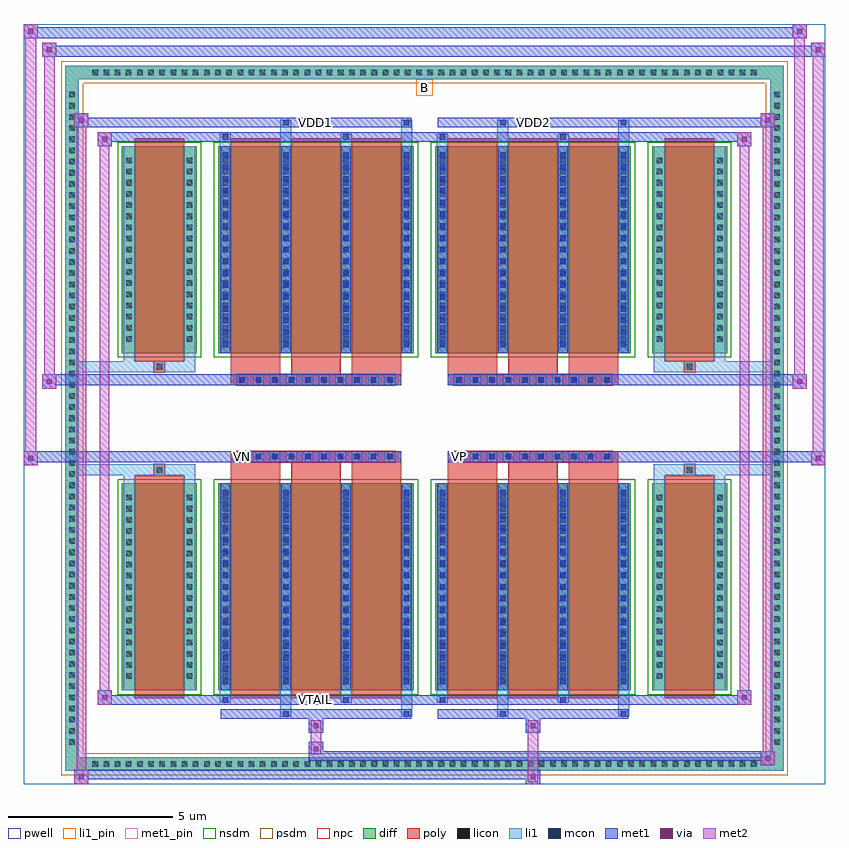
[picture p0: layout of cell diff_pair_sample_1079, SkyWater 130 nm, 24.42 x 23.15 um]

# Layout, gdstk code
import gdstk
lib = gdstk.Library(unit=1e-6, precision=5e-09)
def R(c, l, rs):  # rectangles x0, y0, x1, y1
    for r in rs: c.add(gdstk.rectangle(r[:2], r[2:], *l))
def A(c, l, x, y, w, h, nx, ny, dx, dy):  # array of equal rectangles
    R(c, l, [(x+i*dx, y+j*dy, x+i*dx+w, y+j*dy+h) for i in range(nx) for j in range(ny)])
def P(c, l, *ps):  # polygons
    for p in ps: c.add(gdstk.Polygon(p, *l))
pwell = (64, 44)
diff = (65, 20)
poly = (66, 20)
licon = (66, 44)
li1_pin = (67, 16)
li1 = (67, 20)
mcon = (67, 44)
met1_pin = (68, 16)
met1 = (68, 20)
via = (68, 44)
met2 = (69, 20)
nsdm = (93, 44)
psdm = (94, 20)
npc = (95, 20)

diff_pair_sample_1079 = lib.new_cell('diff_pair_sample_1079')
R(diff_pair_sample_1079, pwell, [(-12.21,-11.14,12.21,12.01), (-9.53,-9.33,-0.01,-0.805), (0.01,-9.33,9.53,-0.805), (-9.53,0.805,-0.01,9.33), (0.01,0.805,9.53,9.33)])
A(diff_pair_sample_1079, diff, -10.235, -10.74, 0.41, 0.41, 60, 2, 0.34, 21.07)
A(diff_pair_sample_1079, diff, -10.94, -10.065, 0.41, 0.41, 1, 59, 0, 0.34)
A(diff_pair_sample_1079, diff, 10.53, -10.065, 0.41, 0.41, 1, 59, 0, 0.34)
R(diff_pair_sample_1079, diff, [(-10.235,-10.74,10.235,-10.33), (-10.94,-10.065,-10.53,10.065), (10.53,-10.065,10.94,10.065), (-9.22,-8.285,-6.93,-1.985), (-6.29,-8.285,-0.32,-1.985), (0.32,-8.285,6.29,-1.985), (6.93,-8.285,9.22,-1.985), (-9.22,1.985,-6.93,8.285), (-6.29,1.985,-0.32,8.285), (0.32,1.985,6.29,8.285), (6.93,1.985,9.22,8.285), (-10.235,10.33,10.235,10.74)])
P(diff_pair_sample_1079, diff, [(10.94,10.74),(-10.94,10.74),(-10.94,-10.33),(-10.53,-10.33),(-10.53,10.33),(10.53,10.33),(10.53,-10.33),(-10.53,-10.33),(-10.94,-10.33),(-10.94,-10.74),(10.94,-10.74)])
A(diff_pair_sample_1079, poly, -5.9, -8.535, 1.51, 6.8, 3, 2, 1.84, 10.27)
A(diff_pair_sample_1079, poly, 0.71, -8.535, 1.51, 6.8, 3, 2, 1.84, 10.27)
A(diff_pair_sample_1079, poly, -5.9, -1.735, 1.51, 0.4, 3, 2, 1.84, 3.07)
A(diff_pair_sample_1079, poly, 0.71, -1.735, 1.51, 0.4, 3, 2, 1.84, 3.07)
A(diff_pair_sample_1079, poly, -5.72, -1.335, 0.33, 0.33, 10, 2, 0.5, 2.34)
A(diff_pair_sample_1079, poly, 0.89, -1.335, 0.33, 0.33, 10, 2, 0.5, 2.34)
R(diff_pair_sample_1079, poly, [(-8.83,-8.535,-7.32,-1.735), (7.32,-8.535,8.83,-1.735), (-8.24,-1.735,-7.91,-1.405), (-8.24,-1.735,-7.91,-1.405), (7.91,-1.735,8.24,-1.405), (7.91,-1.735,8.24,-1.405), (-5.9,-1.335,-0.71,-1.005), (0.71,-1.335,5.9,-1.005), (-5.9,1.005,-0.71,1.335), (0.71,1.005,5.9,1.335), (-8.24,1.405,-7.91,1.735), (-8.24,1.405,-7.91,1.735), (7.91,1.405,8.24,1.735), (7.91,1.405,8.24,1.735), (-8.83,1.735,-7.32,8.535), (7.32,1.735,8.83,8.535)])
A(diff_pair_sample_1079, licon, -10.115, -10.62, 0.17, 0.17, 60, 2, 0.34, 21.07)
A(diff_pair_sample_1079, licon, -10.82, -9.945, 0.17, 0.17, 1, 59, 0, 0.34)
A(diff_pair_sample_1079, licon, 10.65, -9.945, 0.17, 0.17, 1, 59, 0, 0.34)
A(diff_pair_sample_1079, licon, -9.08, -7.94, 0.17, 0.17, 1, 17, 0, 0.34)
A(diff_pair_sample_1079, licon, -7.24, -7.94, 0.17, 0.17, 1, 17, 0, 0.34)
A(diff_pair_sample_1079, licon, -6.15, -7.94, 0.17, 0.17, 4, 17, 1.84, 0.34)
A(diff_pair_sample_1079, licon, 0.46, -7.94, 0.17, 0.17, 4, 17, 1.84, 0.34)
A(diff_pair_sample_1079, licon, 7.07, -7.94, 0.17, 0.17, 1, 17, 0, 0.34)
A(diff_pair_sample_1079, licon, 8.91, -7.94, 0.17, 0.17, 1, 17, 0, 0.34)
A(diff_pair_sample_1079, licon, -5.64, -1.255, 0.17, 0.17, 10, 2, 0.5, 2.34)
A(diff_pair_sample_1079, licon, 0.97, -1.255, 0.17, 0.17, 10, 2, 0.5, 2.34)
A(diff_pair_sample_1079, licon, -9.08, 2.33, 0.17, 0.17, 1, 17, 0, 0.34)
A(diff_pair_sample_1079, licon, -7.24, 2.33, 0.17, 0.17, 1, 17, 0, 0.34)
A(diff_pair_sample_1079, licon, -6.15, 2.33, 0.17, 0.17, 4, 17, 1.84, 0.34)
A(diff_pair_sample_1079, licon, 0.46, 2.33, 0.17, 0.17, 4, 17, 1.84, 0.34)
A(diff_pair_sample_1079, licon, 7.07, 2.33, 0.17, 0.17, 1, 17, 0, 0.34)
A(diff_pair_sample_1079, licon, 8.91, 2.33, 0.17, 0.17, 1, 17, 0, 0.34)
R(diff_pair_sample_1079, licon, [(-8.16,-1.655,-7.99,-1.485), (7.99,-1.655,8.16,-1.485), (-8.16,1.485,-7.99,1.655), (7.99,1.485,8.16,1.655)])
R(diff_pair_sample_1079, li1_pin, [(-0.25,9.83,0.25,10.33)])
A(diff_pair_sample_1079, li1, -10.195, -10.7, 0.33, 0.33, 60, 2, 0.34, 21.07)
A(diff_pair_sample_1079, li1, -10.9, -10.025, 0.33, 0.33, 1, 59, 0, 0.34)
A(diff_pair_sample_1079, li1, 10.57, -10.025, 0.33, 0.33, 1, 59, 0, 0.34)
A(diff_pair_sample_1079, li1, -6.23, -8.285, 0.33, 6.3, 4, 2, 1.84, 10.27)
A(diff_pair_sample_1079, li1, 0.38, -8.285, 0.33, 6.3, 4, 2, 1.84, 10.27)
A(diff_pair_sample_1079, li1, -6.15, -8.1, 0.17, 0.17, 4, 17, 1.84, 0.36)
A(diff_pair_sample_1079, li1, -6.15, -8.1, 0.17, 5.93, 4, 2, 1.84, 10.27)
A(diff_pair_sample_1079, li1, 0.46, -8.1, 0.17, 0.17, 4, 17, 1.84, 0.36)
A(diff_pair_sample_1079, li1, 0.46, -8.1, 0.17, 5.93, 4, 2, 1.84, 10.27)
A(diff_pair_sample_1079, li1, -9.16, -8.02, 0.33, 0.33, 1, 17, 0, 0.34)
A(diff_pair_sample_1079, li1, -7.32, -8.02, 0.33, 0.33, 1, 17, 0, 0.34)
A(diff_pair_sample_1079, li1, -6.23, -8.02, 0.33, 0.33, 4, 17, 1.84, 0.34)
A(diff_pair_sample_1079, li1, 0.38, -8.02, 0.33, 0.33, 4, 17, 1.84, 0.34)
A(diff_pair_sample_1079, li1, 6.99, -8.02, 0.33, 0.33, 1, 17, 0, 0.34)
A(diff_pair_sample_1079, li1, 8.83, -8.02, 0.33, 0.33, 1, 17, 0, 0.34)
A(diff_pair_sample_1079, li1, -5.72, -1.335, 0.33, 0.33, 10, 2, 0.5, 2.34)
A(diff_pair_sample_1079, li1, 0.89, -1.335, 0.33, 0.33, 10, 2, 0.5, 2.34)
A(diff_pair_sample_1079, li1, -6.15, 2.17, 0.17, 0.17, 4, 17, 1.84, 0.36)
A(diff_pair_sample_1079, li1, 0.46, 2.17, 0.17, 0.17, 4, 17, 1.84, 0.36)
A(diff_pair_sample_1079, li1, -9.16, 2.25, 0.33, 0.33, 1, 17, 0, 0.34)
A(diff_pair_sample_1079, li1, -7.32, 2.25, 0.33, 0.33, 1, 17, 0, 0.34)
A(diff_pair_sample_1079, li1, -6.23, 2.25, 0.33, 0.33, 4, 17, 1.84, 0.34)
A(diff_pair_sample_1079, li1, 0.38, 2.25, 0.33, 0.33, 4, 17, 1.84, 0.34)
A(diff_pair_sample_1079, li1, 6.99, 2.25, 0.33, 0.33, 1, 17, 0, 0.34)
A(diff_pair_sample_1079, li1, 8.83, 2.25, 0.33, 0.33, 1, 17, 0, 0.34)
R(diff_pair_sample_1079, li1, [(-10.94,-10.74,-10.53,-10.33), (-10.94,-10.74,-10.53,-10.33), (-10.53,-10.74,10.53,-10.33), (10.53,-10.74,10.94,-10.33), (10.53,-10.74,10.94,-10.33), (-10.94,-10.33,-10.53,10.33), (10.53,-10.33,10.94,10.33), (-4.39,-9.09,-4.06,-8.285), (-4.31,-9.09,-4.14,-8.92), (-0.71,-9.09,-0.38,-8.285), (-0.63,-9.09,-0.46,-8.92), (2.22,-9.09,2.55,-8.285), (2.3,-9.09,2.47,-8.92), (5.9,-9.09,6.23,-8.285), (5.98,-9.09,6.15,-8.92), (-6.23,-8.66,-5.9,-8.285), (-6.15,-8.66,-5.98,-8.49), (-2.55,-8.66,-2.22,-8.285), (-2.47,-8.66,-2.3,-8.49), (0.38,-8.66,0.71,-8.285), (0.46,-8.66,0.63,-8.49), (4.06,-8.66,4.39,-8.285), (4.14,-8.66,4.31,-8.49), (-9.16,-8.285,-8.83,-1.985), (-7.32,-8.285,-6.99,-1.985), (6.99,-8.285,7.32,-1.985), (8.83,-8.285,9.16,-1.985), (-9.16,-1.985,-8.83,-1.405), (-7.32,-1.985,-6.99,-1.405), (6.99,-1.985,7.32,-1.405), (8.83,-1.985,9.16,-1.405), (-10.94,-1.735,-8.24,-1.405), (-9.16,-1.735,-8.24,-1.405), (-8.24,-1.735,-7.91,-1.405), (-7.91,-1.735,-6.99,-1.405), (6.99,-1.735,7.91,-1.405), (7.91,-1.735,8.24,-1.405), (7.91,-1.735,10.94,-1.405), (8.24,-1.735,9.16,-1.405), (-10.94,1.405,-8.24,1.735), (-9.16,1.405,-8.24,1.735), (-9.16,1.405,-8.83,1.985), (-8.24,1.405,-7.91,1.735), (-7.91,1.405,-6.99,1.735), (-7.32,1.405,-6.99,1.985), (6.99,1.405,7.91,1.735), (6.99,1.405,7.32,1.985), (7.91,1.405,8.24,1.735), (7.91,1.405,10.94,1.735), (8.24,1.405,9.16,1.735), (8.83,1.405,9.16,1.985), (-9.16,1.985,-8.83,8.285), (-7.32,1.985,-6.99,8.285), (6.99,1.985,7.32,8.285), (8.83,1.985,9.16,8.285), (-6.23,8.285,-5.9,8.66), (-4.39,8.285,-4.06,9.09), (-2.55,8.285,-2.22,8.66), (-0.71,8.285,-0.38,9.09), (0.38,8.285,0.71,8.66), (2.22,8.285,2.55,9.09), (4.06,8.285,4.39,8.66), (5.9,8.285,6.23,9.09), (-6.15,8.49,-5.98,8.66), (-2.47,8.49,-2.3,8.66), (0.46,8.49,0.63,8.66), (4.14,8.49,4.31,8.66), (-4.31,8.92,-4.14,9.09), (-0.63,8.92,-0.46,9.09), (2.3,8.92,2.47,9.09), (5.98,8.92,6.15,9.09), (-10.94,10.33,-10.53,10.74), (-10.94,10.33,-10.53,10.74), (-10.53,10.33,10.53,10.74), (10.53,10.33,10.94,10.74), (10.53,10.33,10.94,10.74)])
A(diff_pair_sample_1079, mcon, -6.15, -8.1, 0.17, 0.17, 4, 17, 1.84, 0.36)
A(diff_pair_sample_1079, mcon, 0.46, -8.1, 0.17, 0.17, 4, 17, 1.84, 0.36)
A(diff_pair_sample_1079, mcon, -5.64, -1.255, 0.17, 0.17, 10, 2, 0.5, 2.34)
A(diff_pair_sample_1079, mcon, 0.97, -1.255, 0.17, 0.17, 10, 2, 0.5, 2.34)
A(diff_pair_sample_1079, mcon, -6.15, 2.17, 0.17, 0.17, 4, 17, 1.84, 0.36)
A(diff_pair_sample_1079, mcon, 0.46, 2.17, 0.17, 0.17, 4, 17, 1.84, 0.36)
R(diff_pair_sample_1079, mcon, [(-4.31,-9.09,-4.14,-8.92), (-0.63,-9.09,-0.46,-8.92), (2.3,-9.09,2.47,-8.92), (5.98,-9.09,6.15,-8.92), (-6.15,-8.66,-5.98,-8.49), (-2.47,-8.66,-2.3,-8.49), (0.46,-8.66,0.63,-8.49), (4.14,-8.66,4.31,-8.49), (-6.15,8.49,-5.98,8.66), (-2.47,8.49,-2.3,8.66), (0.46,8.49,0.63,8.66), (4.14,8.49,4.31,8.66), (-4.31,8.92,-4.14,9.09), (-0.63,8.92,-0.46,9.09), (2.3,8.92,2.47,9.09), (5.98,8.92,6.15,9.09)])
R(diff_pair_sample_1079, met1_pin, [(-3.44,-8.7,-3.17,-8.43), (-5.69,-1.295,-5.42,-1.025), (0.92,-1.295,1.19,-1.025), (-3.44,8.88,-3.17,9.15), (3.17,8.88,3.44,9.15)])
A(diff_pair_sample_1079, met1, -6.21, -8.285, 0.29, 6.3, 4, 2, 1.84, 10.27)
A(diff_pair_sample_1079, met1, 0.4, -8.285, 0.29, 6.3, 4, 2, 1.84, 10.27)
A(diff_pair_sample_1079, met1, -6.21, -8.16, 0.29, 0.29, 4, 17, 1.84, 0.36)
A(diff_pair_sample_1079, met1, 0.4, -8.16, 0.29, 0.29, 4, 17, 1.84, 0.36)
A(diff_pair_sample_1079, met1, -5.7, -1.315, 0.29, 0.29, 10, 2, 0.5, 2.34)
A(diff_pair_sample_1079, met1, 0.91, -1.315, 0.29, 0.29, 10, 2, 0.5, 2.34)
A(diff_pair_sample_1079, met1, -6.21, 2.11, 0.29, 0.29, 4, 17, 1.84, 0.36)
A(diff_pair_sample_1079, met1, 0.4, 2.11, 0.29, 0.29, 4, 17, 1.84, 0.36)
R(diff_pair_sample_1079, met1, [(-10.67,-11.14,-10.24,-10.71), (3.09,-11.14,3.52,-10.71), (-10.67,-11,3.52,-10.71), (10.24,-10.57,10.67,-10.14), (-3.52,-10.43,10.67,-10.14), (-3.52,-10.29,-3.09,-9.86), (-3.52,-9.58,-3.09,-9.15), (3.09,-9.58,3.52,-9.15), (-6.21,-9.15,-0.4,-8.86), (-4.37,-9.15,-4.08,-8.86), (-0.69,-9.15,-0.4,-8.86), (0.4,-9.15,6.21,-8.86), (2.24,-9.15,2.53,-8.86), (5.92,-9.15,6.21,-8.86), (-9.96,-8.72,-9.53,-8.29), (-9.96,-8.72,-6.21,-8.43), (-6.21,-8.72,-5.92,-8.43), (-6.21,-8.72,-0.4,-8.43), (-2.53,-8.72,-2.24,-8.43), (-0.4,-8.72,0.4,-8.43), (0.4,-8.72,0.69,-8.43), (0.4,-8.72,6.21,-8.43), (4.08,-8.72,4.37,-8.43), (6.21,-8.72,9.96,-8.43), (9.53,-8.72,9.96,-8.29), (-12.21,-1.435,-11.78,-1.005), (11.78,-1.435,12.21,-1.005), (-12.21,-1.335,-0.71,-1.005), (-5.9,-1.335,-0.71,-1.005), (0.71,-1.335,5.9,-1.005), (0.71,-1.335,12.21,-1.005), (-11.64,0.905,-11.21,1.335), (11.21,0.905,11.64,1.335), (-11.64,1.005,-5.9,1.335), (-5.9,1.005,-0.71,1.335), (0.71,1.005,5.9,1.335), (5.9,1.005,11.64,1.335), (-9.96,8.29,-9.53,8.72), (9.53,8.29,9.96,8.72), (-9.96,8.43,-6.21,8.72), (-6.21,8.43,-5.92,8.72), (-6.21,8.43,-0.4,8.72), (-2.53,8.43,-2.24,8.72), (-0.4,8.43,0.4,8.72), (0.4,8.43,0.69,8.72), (0.4,8.43,6.21,8.72), (4.08,8.43,4.37,8.72), (6.21,8.43,9.96,8.72), (-10.67,8.86,-10.24,9.29), (-10.67,8.86,-6.21,9.15), (-6.21,8.86,-0.4,9.15), (-4.37,8.86,-4.08,9.15), (-0.69,8.86,-0.4,9.15), (0.4,8.86,6.21,9.15), (2.24,8.86,2.53,9.15), (5.92,8.86,6.21,9.15), (6.21,8.86,10.67,9.15), (10.24,8.86,10.67,9.29), (-11.64,11.01,-11.21,11.44), (-11.64,11.01,-9.53,11.34), (-9.53,11.01,9.53,11.34), (9.53,11.01,12.21,11.34), (11.78,11.01,12.21,11.44), (-12.21,11.58,-11.78,12.01), (-12.21,11.58,-9.53,11.91), (-9.53,11.58,9.53,11.91), (9.53,11.58,11.64,11.91), (11.21,11.58,11.64,12.01)])
R(diff_pair_sample_1079, via, [(-10.53,-11,-10.38,-10.85), (3.23,-11,3.38,-10.85), (10.38,-10.43,10.53,-10.28), (-3.38,-10.15,-3.23,-10), (-3.38,-9.44,-3.23,-9.29), (3.23,-9.44,3.38,-9.29), (-9.82,-8.58,-9.67,-8.43), (9.67,-8.58,9.82,-8.43), (-12.07,-1.295,-11.92,-1.145), (11.92,-1.295,12.07,-1.145), (-11.5,1.045,-11.35,1.195), (11.35,1.045,11.5,1.195), (-9.82,8.43,-9.67,8.58), (9.67,8.43,9.82,8.58), (-10.53,9,-10.38,9.15), (10.38,9,10.53,9.15), (-11.5,11.15,-11.35,11.3), (11.92,11.15,12.07,11.3), (-12.07,11.72,-11.92,11.87), (11.35,11.72,11.5,11.87)])
R(diff_pair_sample_1079, met2, [(-10.67,-11.14,-10.24,-10.71), (-10.6,-11.14,-10.31,9.29), (-10.31,-11.14,-10.24,-10.71), (-10.62,-11.09,-10.29,-10.76), (3.14,-11.09,3.47,-10.76), (3.14,-10.76,3.47,-9.53), (10.24,-10.57,10.67,-10.14), (10.31,-10.57,10.6,9.29), (10.6,-10.57,10.67,-10.14), (10.29,-10.52,10.62,-10.19), (-3.47,-10.24,-3.14,-9.91), (-3.47,-9.91,-3.14,-9.53), (-3.47,-9.53,-3.14,-9.2), (3.14,-9.53,3.47,-9.2), (-9.96,-8.72,-9.53,-8.29), (-9.89,-8.72,-9.6,8.72), (-9.6,-8.72,-9.53,-8.29), (9.53,-8.72,9.96,-8.29), (9.6,-8.72,9.89,8.72), (9.89,-8.72,9.96,-8.29), (-9.91,-8.67,-9.58,-8.34), (9.58,-8.67,9.91,-8.34), (-12.21,-1.435,-11.78,-1.005), (-12.16,-1.435,-11.83,12.01), (-11.83,-1.435,-11.78,-1.005), (11.78,-1.435,12.21,-1.005), (11.83,-1.435,12.16,11.44), (12.16,-1.435,12.21,-1.005), (-12.16,-1.385,-11.83,-1.055), (11.83,-1.385,12.16,-1.055), (-11.64,0.905,-11.21,1.335), (-11.59,0.905,-11.26,11.44), (-11.26,0.905,-11.21,1.335), (11.21,0.905,11.64,1.335), (11.26,0.905,11.59,12.01), (11.59,0.905,11.64,1.335), (-11.59,0.955,-11.26,1.285), (11.26,0.955,11.59,1.285), (-9.96,8.29,-9.53,8.72), (-9.6,8.29,-9.53,8.72), (9.53,8.29,9.96,8.72), (9.89,8.29,9.96,8.72), (-9.91,8.34,-9.58,8.67), (9.58,8.34,9.91,8.67), (-10.67,8.86,-10.24,9.29), (-10.31,8.86,-10.24,9.29), (10.24,8.86,10.67,9.29), (10.6,8.86,10.67,9.29), (-10.62,8.91,-10.29,9.24), (10.29,8.91,10.62,9.24), (-11.64,11.01,-11.21,11.44), (-11.26,11.01,-11.21,11.44), (11.78,11.01,12.21,11.44), (12.16,11.01,12.21,11.44), (-11.59,11.06,-11.26,11.39), (11.83,11.06,12.16,11.39), (-12.21,11.58,-11.78,12.01), (-11.83,11.58,-11.78,12.01), (11.21,11.58,11.64,12.01), (11.59,11.58,11.64,12.01), (-12.16,11.63,-11.83,11.96), (11.26,11.63,11.59,11.96)])
R(diff_pair_sample_1079, nsdm, [(-9.35,-8.415,-6.8,-1.855), (-6.42,-8.415,-0.19,-1.855), (0.19,-8.415,6.42,-1.855), (6.8,-8.415,9.35,-1.855), (-9.35,1.855,-6.8,8.415), (-6.42,1.855,-0.19,8.415), (0.19,1.855,6.42,8.415), (6.8,1.855,9.35,8.415)])
P(diff_pair_sample_1079, psdm, [(11.07,10.87),(-11.07,10.87),(-11.07,-10.2),(-10.4,-10.2),(-10.4,10.2),(10.4,10.2),(10.4,-10.2),(-10.4,-10.2),(-11.07,-10.2),(-11.07,-10.87),(11.07,-10.87)])
A(diff_pair_sample_1079, npc, -5.74, -1.355, 0.37, 0.37, 10, 2, 0.5, 2.34)
A(diff_pair_sample_1079, npc, 0.87, -1.355, 0.37, 0.37, 10, 2, 0.5, 2.34)
R(diff_pair_sample_1079, npc, [(-8.26,-1.755,-7.89,-1.385), (7.89,-1.755,8.26,-1.385), (-5.74,-1.355,-4.87,-0.985), (-5.74,-1.355,-4.87,-0.985), (-5.24,-1.355,-4.37,-0.985), (-5.24,-1.355,-4.37,-0.985), (-4.74,-1.355,-3.87,-0.985), (-4.74,-1.355,-3.87,-0.985), (-4.24,-1.355,-3.37,-0.985), (-4.24,-1.355,-3.37,-0.985), (-3.74,-1.355,-2.87,-0.985), (-3.74,-1.355,-2.87,-0.985), (-3.24,-1.355,-2.37,-0.985), (-3.24,-1.355,-2.37,-0.985), (-2.74,-1.355,-1.87,-0.985), (-2.74,-1.355,-1.87,-0.985), (-2.24,-1.355,-1.37,-0.985), (-2.24,-1.355,-1.37,-0.985), (-1.74,-1.355,-0.87,-0.985), (-1.74,-1.355,-0.87,-0.985), (0.87,-1.355,1.74,-0.985), (0.87,-1.355,1.74,-0.985), (1.37,-1.355,2.24,-0.985), (1.37,-1.355,2.24,-0.985), (1.87,-1.355,2.74,-0.985), (1.87,-1.355,2.74,-0.985), (2.37,-1.355,3.24,-0.985), (2.37,-1.355,3.24,-0.985), (2.87,-1.355,3.74,-0.985), (2.87,-1.355,3.74,-0.985), (3.37,-1.355,4.24,-0.985), (3.37,-1.355,4.24,-0.985), (3.87,-1.355,4.74,-0.985), (3.87,-1.355,4.74,-0.985), (4.37,-1.355,5.24,-0.985), (4.37,-1.355,5.24,-0.985), (4.87,-1.355,5.74,-0.985), (4.87,-1.355,5.74,-0.985), (-5.74,0.985,-4.87,1.355), (-5.74,0.985,-4.87,1.355), (-5.24,0.985,-4.37,1.355), (-5.24,0.985,-4.37,1.355), (-4.74,0.985,-3.87,1.355), (-4.74,0.985,-3.87,1.355), (-4.24,0.985,-3.37,1.355), (-4.24,0.985,-3.37,1.355), (-3.74,0.985,-2.87,1.355), (-3.74,0.985,-2.87,1.355), (-3.24,0.985,-2.37,1.355), (-3.24,0.985,-2.37,1.355), (-2.74,0.985,-1.87,1.355), (-2.74,0.985,-1.87,1.355), (-2.24,0.985,-1.37,1.355), (-2.24,0.985,-1.37,1.355), (-1.74,0.985,-0.87,1.355), (-1.74,0.985,-0.87,1.355), (0.87,0.985,1.74,1.355), (0.87,0.985,1.74,1.355), (1.37,0.985,2.24,1.355), (1.37,0.985,2.24,1.355), (1.87,0.985,2.74,1.355), (1.87,0.985,2.74,1.355), (2.37,0.985,3.24,1.355), (2.37,0.985,3.24,1.355), (2.87,0.985,3.74,1.355), (2.87,0.985,3.74,1.355), (3.37,0.985,4.24,1.355), (3.37,0.985,4.24,1.355), (3.87,0.985,4.74,1.355), (3.87,0.985,4.74,1.355), (4.37,0.985,5.24,1.355), (4.37,0.985,5.24,1.355), (4.87,0.985,5.74,1.355), (4.87,0.985,5.74,1.355), (-8.26,1.385,-7.89,1.755), (7.89,1.385,8.26,1.755)])
diff_pair_sample_1079.add(gdstk.Label('VTAIL', (-3.305,-8.565), layer=68, texttype=5))
diff_pair_sample_1079.add(gdstk.Label('VN', (-5.555,-1.16), layer=68, texttype=5))
diff_pair_sample_1079.add(gdstk.Label('VP', (1.055,-1.16), layer=68, texttype=5))
diff_pair_sample_1079.add(gdstk.Label('B', (0,10.08), layer=67, texttype=5))
diff_pair_sample_1079.add(gdstk.Label('VDD2', (3.305,9.015), layer=68, texttype=5))
diff_pair_sample_1079.add(gdstk.Label('VDD1', (-3.305,9.015), layer=68, texttype=5))

lib.write_gds('diff_pair_sample_1079.gds')
